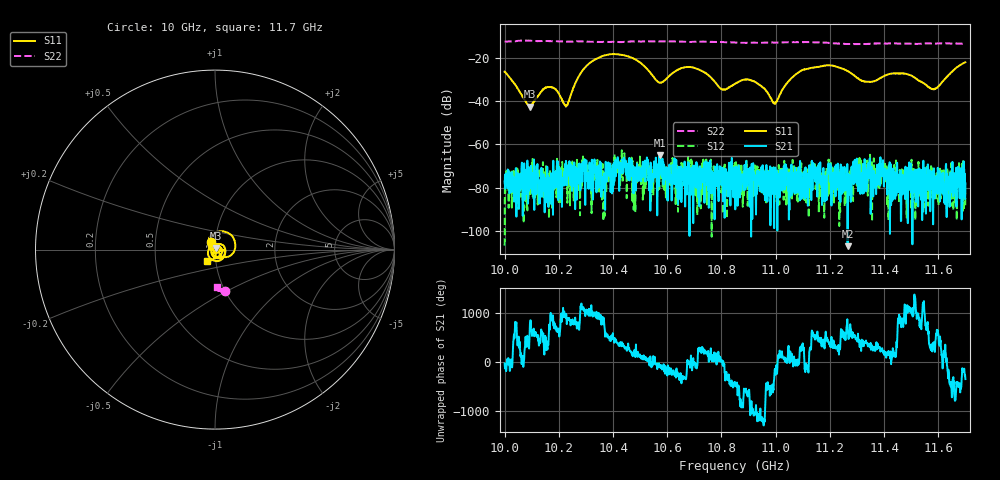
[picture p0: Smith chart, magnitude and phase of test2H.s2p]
!Keysight Technologies,P9377B,MY61100142,A.16.70.00
!Date: Tuesday, September 12, 2023 10:54:28
!Correction: S11(C  2-Port  )
!S21(C  2-Port  )
!S12(C  2-Port  )
!S22(C  2-Port  )
!S2P File: Measurements: S11, S21, S12, S22:
# Hz S  dB  R 50
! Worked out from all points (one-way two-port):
!   1601 points, 10 GHz to 11.7 GHz, reference 50 ohm
!   highest |S21| = -65.10 dB at 10.57 GHz (marker M1); lowest = -107.1 dB at 11.27 GHz (marker M2)
!   lowest |S11| = -42.7 dB at 10.09 GHz (marker M3), VSWR 1.01, Z = 50.3 + j0.681 ohm
!   |S11| at or under -10 dB: start of sweep to end of sweep
!   |S22| runs from -13.7 to -12.0 dB; largest |S21 - S12| = 0.00063
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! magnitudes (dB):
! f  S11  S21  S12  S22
! 10 GHz  -26.4  -77.2  -106.8  -12.5
! 10.09 GHz  -42.7  -75.8  -70.7  -12.1
! 10.17 GHz  -33.5  -75.7  -77.4  -12.3
! 10.23 GHz  -42.0  -71.7  -72.1  -12.6
! 10.28 GHz  -26.6  -75.9  -76.0  -12.4
! 10.37 GHz  -19.0  -80.0  -88.8  -12.6
! 10.42 GHz  -18.5  -68.8  -68.9  -12.7
! 10.46 GHz  -19.7  -66.7  -67.5  -12.5
! 10.48 GHz  -20.5  -78.7  -88.2  -12.5
! 10.57 GHz  -31.3  -71.5  -73.7  -12.5
! 10.57 GHz  -31.5  -65.1  -71.6  -12.4
! 10.68 GHz  -24.3  -77.7  -70.0  -12.7
! 10.8 GHz  -34.4  -76.5  -75.6  -12.7
! 10.85 GHz  -32.0  -74.1  -78.8  -12.9
! 10.92 GHz  -30.9  -72.9  -76.9  -13.0
! 11 GHz  -41.0  -83.2  -82.0  -12.9
! 11.13 GHz  -24.6  -67.6  -75.1  -12.9
! 11.27 GHz  -26.1  -107.1  -80.4  -13.6
! 11.29 GHz  -28.4  -67.2  -69.6  -13.7
! 11.42 GHz  -27.6  -70.2  -79.3  -13.4
! 11.58 GHz  -34.4  -77.4  -73.7  -13.4
! 11.7 GHz  -22.1  -78.0  -89.6  -13.6
